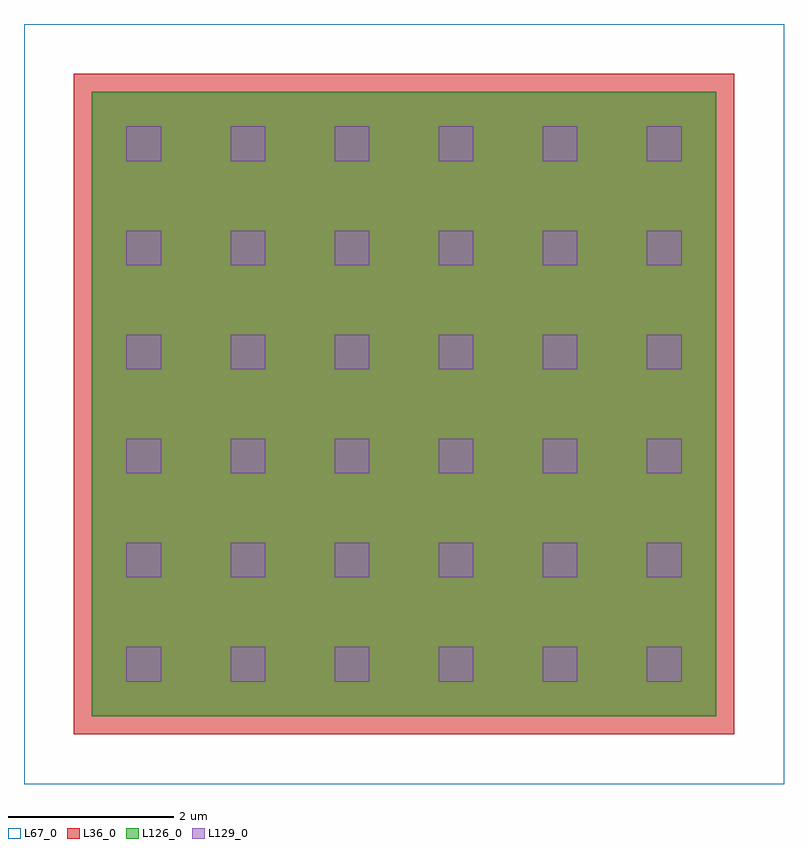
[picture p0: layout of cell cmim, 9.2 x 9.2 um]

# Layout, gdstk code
import gdstk
lib = gdstk.Library(unit=1e-6, precision=5e-09)
def R(c, l, rs):  # rectangles x0, y0, x1, y1
    for r in rs: c.add(gdstk.rectangle(r[:2], r[2:], *l))
def A(c, l, x, y, w, h, nx, ny, dx, dy):  # array of equal rectangles
    R(c, l, [(x+i*dx, y+j*dy, x+i*dx+w, y+j*dy+h) for i in range(nx) for j in range(ny)])
L36_0 = (36, 0)
L67_0 = (67, 0)
L126_0 = (126, 0)
L129_0 = (129, 0)

cmim = lib.new_cell('cmim')
R(cmim, L36_0, [(0,0,8,8)])
R(cmim, L67_0, [(-0.6,-0.6,8.6,8.6)])
R(cmim, L126_0, [(0.22,0.22,7.78,7.78)])
A(cmim, L129_0, 0.64, 0.64, 0.42, 0.42, 6, 6, 1.26, 1.26)

lib.write_gds('cmim.gds')
